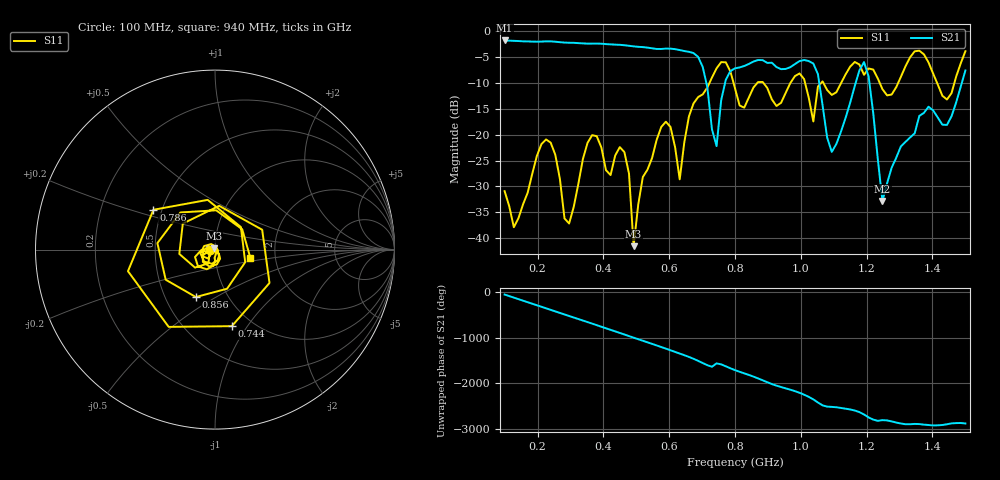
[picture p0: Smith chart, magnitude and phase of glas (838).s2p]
! NanoVNA-App
! Date: 2025-09-25 16:02:00
! Start: 100MHz Stop: 1,5GHz Points: 101
! S-Parameter data: F S11 S21 S12 S22
# Hz S RI R 50
!  Frequency  S11_Real  S11_Imag  S21_Real  S21_Imag  S12_Real  S12_Imag  S22_Real  S22_Imag
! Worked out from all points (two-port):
!   101 points, 100 MHz to 1.5 GHz, reference 50 ohm
!   highest |S21| = -1.80 dB at 100 MHz (marker M1); lowest = -32.8 dB at 1.248 GHz (marker M2)
!   |S21| within 3 dB of the highest: start of sweep to 684.6 MHz
!   lowest |S11| = -41.6 dB at 492 MHz (marker M3), VSWR 1.02, Z = 49.5 + j0.645 ohm
!   |S11| at or under -10 dB: start of sweep to 722.5 MHz; 795.5 MHz to 868 MHz (72.48 MHz wide, 8.71 % of centre); 886.2 MHz to 968.5 MHz (82.25 MHz wide, 8.87 % of centre) (the widest 3 of 7)
!   S12 and S22 are empty: the file has one direction only
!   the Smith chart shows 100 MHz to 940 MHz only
!   S11 on the Smith chart (normalised r, x): 100 MHz: 0.94, -0.01; 744 MHz: 0.81, -0.85; 786 MHz: 0.45, +0.24; 856 MHz: 0.71, -0.41; 940 MHz: 1.48, -0.15
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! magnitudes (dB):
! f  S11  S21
! 100 MHz  -30.9  -1.8
! 128 MHz  -37.9  -1.9
! 226 MHz  -20.9  -2.0
! 296 MHz  -37.2  -2.2
! 338 MHz  -24.7  -2.4
! 464 MHz  -23.4  -2.7
! 492 MHz  -41.6  -2.9
! 576 MHz  -18.5  -3.4
! 632 MHz  -28.6  -3.7
! 702 MHz  -12.2  -6.9
! 744 MHz  -7.2  -22.2
! 786 MHz  -7.8  -7.7
! 800 MHz  -11.1  -7.2
! 856 MHz  -10.9  -5.9
! 940 MHz  -13.9  -7.3
! 996 MHz  -8.2  -5.8
! 1.038 GHz  -17.5  -6.3
! 1.094 GHz  -12.3  -23.3
! 1.192 GHz  -8.4  -6.0
! 1.248 GHz  -11.2  -32.8
! 1.276 GHz  -12.2  -26.4
! 1.5 GHz  -3.9  -7.6
